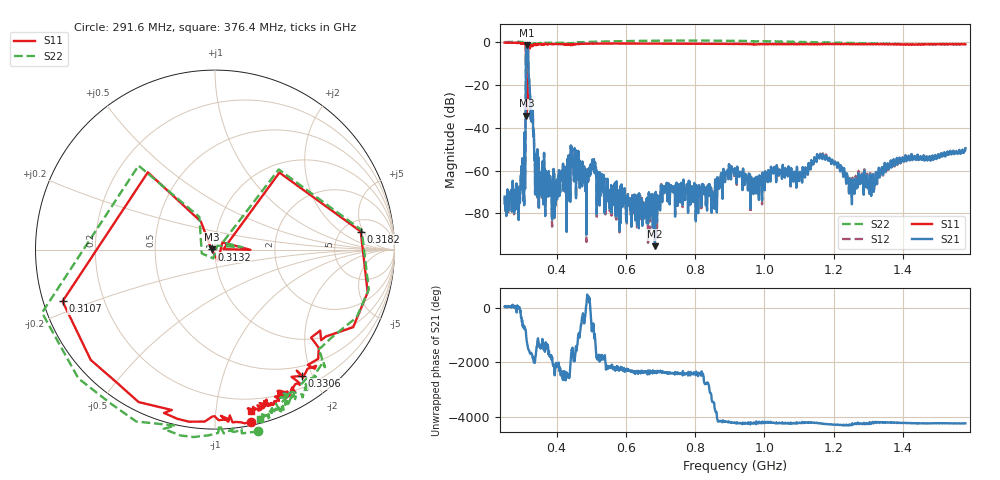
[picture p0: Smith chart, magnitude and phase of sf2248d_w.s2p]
!Agilent Technologies,E5071C,MY46104547,A.08.12
!Date: Thu May 02 14:17:23 2019
!Data & Calibration Information:
!Freq	S11:SOLT2(ON)	S21:SOLT2(ON)	S12:SOLT2(ON)	S22:SOLT2(ON)
# Hz S dB R 50
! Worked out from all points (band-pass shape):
!   1601 points, 250 MHz to 1.58 GHz, reference 50 ohm
!   highest |S21| = -1.16 dB at 314.8 MHz (marker M1); lowest = -95.4 dB at 683.9 MHz (marker M2)
!   |S21| within 3 dB of the highest: 312.1 MHz to 317.4 MHz (5.379 MHz wide, 1.71 % of centre)
!   lowest |S11| = -34.3 dB at 313.2 MHz (marker M3), VSWR 1.04, Z = 48.1 + j0.0686 ohm
!   |S11| at or under -10 dB: 311.9 MHz to 317.1 MHz (5.213 MHz wide, 1.66 % of centre)
!   |S22| runs from -31.9 to 0.9 dB; largest |S21 - S12| = 0.001
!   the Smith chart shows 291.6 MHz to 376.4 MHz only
!   S11 on the Smith chart (normalised r, x): 291.6 MHz: 0.02, -1.23; 310.7 MHz: 0.06, -0.16; 313.2 MHz: 0.96, +0.00; 318.2 MHz: 7.26, +4.43; 330.6 MHz: 0.36, -1.85; 376.4 MHz: 0.10, -1.24
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2.5e8  -0.09 -59.8  -72.14 35.5  -72.54 32.7  0.20 -58.3
2.915625e8  -0.17 -78.3  -70.96 -13.8  -70.13 -18.3  0.33 -76.5
3.040312e8  -0.32 -96.0  -70.58 0.5  -70.78 2.9  0.34 -93.6
3.106812e8  -0.94 -161.3  -36.25 -91.1  -36.23 -91.1  0.22 -160.0
3.13175e8  -34.33 177.9  -1.35 -83.3  -1.35 -83.3  -22.30 -164.0
3.148375e8  -24.79 44.2  -1.16 144.6  -1.17 144.6  -31.93 58.8
3.181625e8  -1.74 7.1  -8.65 -78.0  -8.67 -78.1  -1.68 7.5
3.306312e8  -1.37 -55.5  -35.09 -7.3  -35.10 -7.1  -1.11 -54.6
3.447625e8  -0.99 -66.7  -50.06 -157.3  -50.03 -157.2  -0.80 -64.0
3.7635e8  -0.69 -77.4  -64.09 -159.3  -64.04 -159.1  -0.20 -75.2
4.32875e8  -1.10 -92.2  -69.29 -21.8  -68.83 -19.8  -0.48 -89.4
4.470062e8  -1.06 -93.0  -54.08 -174.4  -54.14 -174.2  -0.41 -90.3
4.719438e8  -0.65 -98.7  -65.97 171.8  -65.93 173.9  0.09 -95.5
6.839125e8  -0.57 -152.8  -95.37 122.4  -88.09 -65.1  0.81 -148.1
6.938875e8  -0.55 -155.2  -74.68 -166.7  -72.58 -165.2  0.83 -150.5
8.501625e8  -0.69 165.1  -72.97 131.2  -72.19 142.6  0.84 169.8
9.15e8  -0.70 148.8  -58.79 90.4  -59.12 89.2  0.77 153.1
1.136944e9  -0.84 95.5  -57.08 92.8  -56.94 98.7  0.06 97.7
1.20095e9  -0.77 79.1  -57.12 24.4  -57.07 25.9  -0.12 80.6
1.254981e9  -0.84 67.8  -66.28 29.5  -65.41 35.6  -0.35 68.9
1.358888e9  -0.82 45.2  -59.28 101.3  -59.60 97.5  -0.63 45.4
1.58e9  -0.90 1.4  -49.46 70.8  -49.47 71.1  -1.01 -0.5
